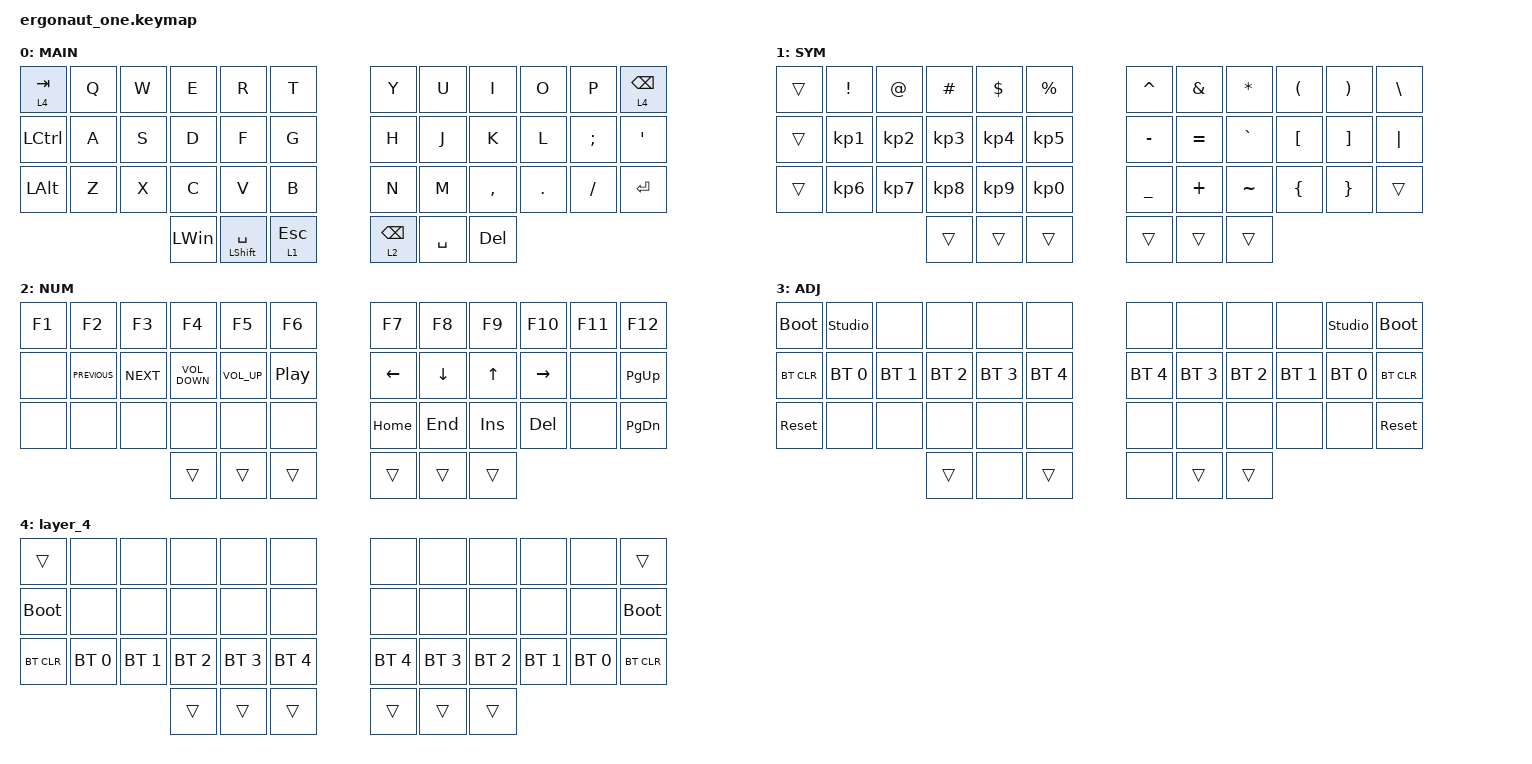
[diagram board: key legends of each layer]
#include <behaviors.dtsi>
#include <dt-bindings/zmk/bt.h>
#include <dt-bindings/zmk/keys.h>

#define DEF 0
#define LWR 1
#define RSE 2
#define ADJ 3

&lt { quick-tap-ms = <200>; };

&mt { quick-tap-ms = <200>; };

/*/ {
    behaviors {
        home_row_mod_left: home_row_mod_left {
            compatible = "zmk,behavior-hold-tap";
            label = "HOME_ROW_MOD_LEFT";
            bindings = <&kp>, <&kp>;

            #binding-cells = <2>;
            tapping-term-ms = <280>;
            quick-tap-ms = <175>;
            require-prior-idle-ms = <150>;
            flavor = "balanced";
            hold-trigger-key-positions = <13 14 15 16>;
            hold-trigger-on-release;
        };

        home_row_mod_right: home_row_mod_right {
            compatible = "zmk,behavior-hold-tap";
            label = "HOME_ROW_MOD_RIGHT";
            bindings = <&kp>, <&kp>;

            #binding-cells = <2>;
            tapping-term-ms = <280>;
            quick-tap-ms = <175>;
            require-prior-idle-ms = <150>;
            flavor = "balanced";
            hold-trigger-key-positions = <19 20 21 22>;
            hold-trigger-on-release;
        };
    };
};*/

/ {
    conditional_layers {
        compatible = "zmk,conditional-layers";

        tri-layer {
            if-layers = <1 2>;
            then-layer = <3>;
        };
    };

    keymap {
        compatible = "zmk,keymap";

        default_layer {
            display-name = "MAIN";
            bindings = <
&lt 4 TAB     &kp Q           &kp W           &kp E             &kp R                 &kp T         &kp Y            &kp U                &kp I              &kp O            &kp P               &lt 4 BACKSPACE
&kp LCTRL     &kp A           &kp S           &kp D             &kp F                 &kp G         &kp H            &kp J                &kp K              &kp L            &kp SEMI            &kp SQT
&kp LEFT_ALT  &kp Z           &kp X           &kp C             &kp V                 &kp B         &kp N            &kp M                &kp COMMA          &kp DOT          &kp FSLH            &kp ENTER
                                              &kp LEFT_WIN      &mt LEFT_SHIFT SPACE  &lt 1 ESCAPE  &lt 2 BACKSPACE  &kp SPACE            &kp DEL
            >;
        };

        lower_layer {
            display-name = "SYM";
            bindings = <
&trans  &kp EXCLAMATION  &kp AT_SIGN      &kp HASH         &kp DOLLAR       &kp PERCENT      &kp CARET       &kp AMPERSAND  &kp ASTERISK  &kp LEFT_PARENTHESIS  &kp RIGHT_PARENTHESIS  &kp BACKSLASH
&trans  &kp KP_NUMBER_1  &kp KP_NUMBER_2  &kp KP_NUMBER_3  &kp KP_NUMBER_4  &kp KP_NUMBER_5  &kp MINUS       &kp EQUAL      &kp GRAVE     &kp LEFT_BRACKET      &kp RIGHT_BRACKET      &kp PIPE
&trans  &kp KP_NUMBER_6  &kp KP_NUMBER_7  &kp KP_NUMBER_8  &kp KP_NUMBER_9  &kp KP_NUMBER_0  &kp UNDERSCORE  &kp PLUS       &kp TILDE     &kp LEFT_BRACE        &kp RIGHT_BRACE        &trans
                                          &trans           &trans           &trans           &trans          &trans         &trans
            >;
        };

        raise_layer {
            display-name = "NUM";
            bindings = <
&kp F1  &kp F2          &kp F3      &kp F4             &kp F5           &kp F6            &kp F7    &kp F8          &kp F9   &kp F10     &kp F11  &kp F12
&none   &kp C_PREVIOUS  &kp C_NEXT  &kp C_VOLUME_DOWN  &kp C_VOLUME_UP  &kp C_PLAY_PAUSE  &kp LEFT  &kp DOWN_ARROW  &kp UP   &kp RIGHT   &none    &kp PG_UP
&none   &none           &none       &none              &none            &none             &kp HOME  &kp END         &kp INS  &kp DELETE  &none    &kp PG_DN
                                    &trans             &trans           &trans            &trans    &trans          &trans
            >;
        };

        adjust_layer {
            display-name = "ADJ";
            bindings = <
&bootloader  &studio_unlock  &none         &none         &none         &none         &none         &none         &none         &none         &studio_unlock  &bootloader
&bt BT_CLR   &bt BT_SEL 0    &bt BT_SEL 1  &bt BT_SEL 2  &bt BT_SEL 3  &bt BT_SEL 4  &bt BT_SEL 4  &bt BT_SEL 3  &bt BT_SEL 2  &bt BT_SEL 1  &bt BT_SEL 0    &bt BT_CLR
&sys_reset   &none           &none         &none         &none         &none         &none         &none         &none         &none         &none           &sys_reset
                                           &trans        &none         &trans        &none         &trans        &trans
            >;
        };

        layer_4 {
            bindings = <
&trans       &none         &none         &none         &none         &none         &none         &none         &none         &none         &none         &trans
&bootloader  &none         &none         &none         &none         &none         &none         &none         &none         &none         &none         &bootloader
&bt BT_CLR   &bt BT_SEL 0  &bt BT_SEL 1  &bt BT_SEL 2  &bt BT_SEL 3  &bt BT_SEL 4  &bt BT_SEL 4  &bt BT_SEL 3  &bt BT_SEL 2  &bt BT_SEL 1  &bt BT_SEL 0  &bt BT_CLR
                                         &trans        &trans        &trans        &trans        &trans        &trans
            >;
        };
    };
};
